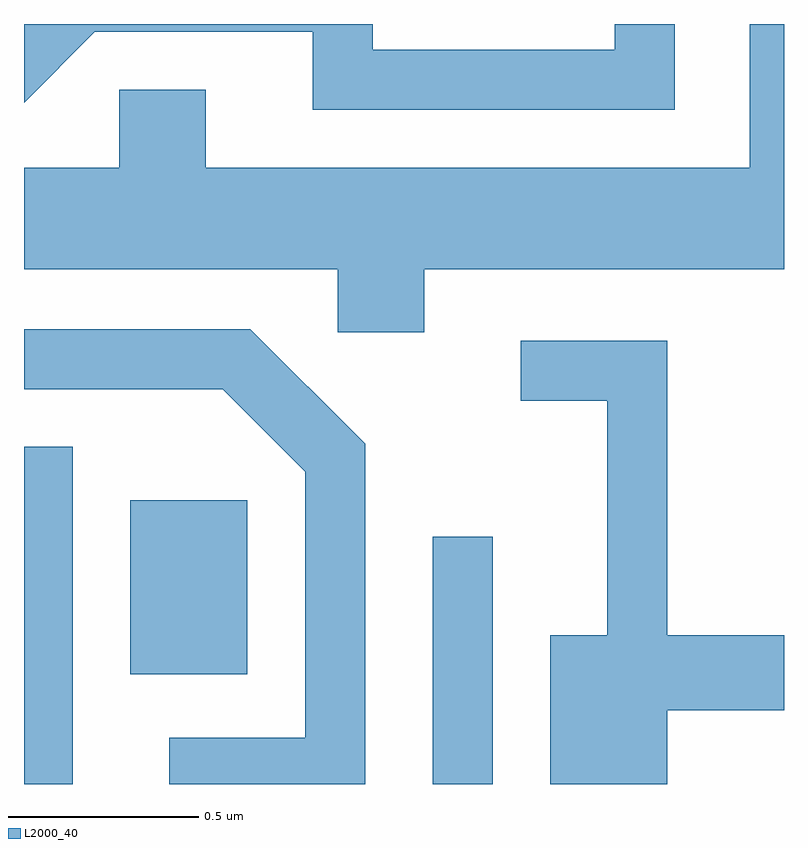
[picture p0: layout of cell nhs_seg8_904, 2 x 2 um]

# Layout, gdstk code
import gdstk
lib = gdstk.Library(unit=1e-6, precision=1e-09)
def R(c, l, rs):  # rectangles x0, y0, x1, y1
    for r in rs: c.add(gdstk.rectangle(r[:2], r[2:], *l))
def P(c, l, *ps):  # polygons
    for p in ps: c.add(gdstk.Polygon(p, *l))
L2000_40 = (2000, 40)

nhs_seg8_904 = lib.new_cell('nhs_seg8_904')
R(nhs_seg8_904, L2000_40, [(191.611,1888.342,191.739,1889.229), (192.686,1888.342,192.844,1888.993), (191.891,1888.631,192.199,1889.089)])
P(nhs_seg8_904, L2000_40, [(192.664,1889.696),(193.611,1889.696),(193.611,1890.342),(193.521,1890.342),(193.521,1889.964),(192.089,1889.964),(192.089,1890.169),(191.861,1890.169),(191.861,1889.964),(191.611,1889.964),(191.611,1889.696),(192.436,1889.696),(192.436,1889.531),(192.664,1889.531)],
  [(193.324,1890.342),(193.166,1890.342),(193.166,1890.274),(192.529,1890.274),(192.529,1890.342),(191.611,1890.342),(191.611,1890.135),(191.797,1890.321),(192.371,1890.321),(192.371,1890.116),(193.324,1890.116)],
  [(192.509,1889.237),(192.207,1889.539),(191.611,1889.539),(191.611,1889.381),(192.134,1889.381),(192.351,1889.164),(192.351,1888.464),(191.993,1888.464),(191.993,1888.342),(192.509,1888.342)],
  [(193.304,1888.536),(193.611,1888.536),(193.611,1888.734),(193.304,1888.734),(193.304,1889.509),(192.918,1889.509),(192.918,1889.351),(193.146,1889.351),(193.146,1888.734),(192.996,1888.734),(192.996,1888.342),(193.304,1888.342)])

lib.write_gds('nhs_seg8_904.gds')
